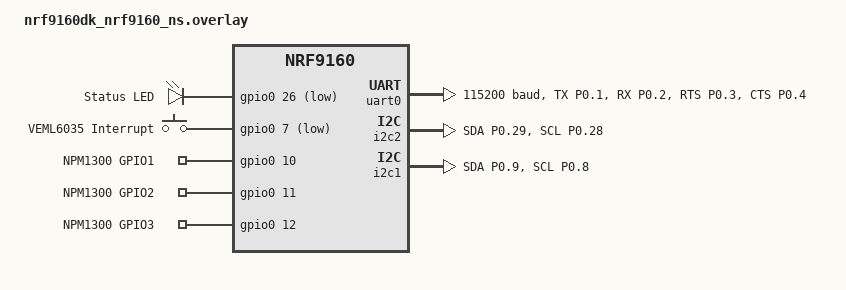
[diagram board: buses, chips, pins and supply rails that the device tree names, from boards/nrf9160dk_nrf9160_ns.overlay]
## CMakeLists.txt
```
cmake_minimum_required(VERSION 3.20.0)

find_package(Zephyr REQUIRED HINTS $ENV{ZEPHYR_BASE})
project(security_seal)

target_sources(app PRIVATE src/main.c)

# Add other source directories as we populate them
target_sources(app PRIVATE src/drivers/veml6035.c)
target_sources(app PRIVATE src/drivers/npm1300.c)
target_sources(app PRIVATE src/power/power_mgr.c)
target_sources(app PRIVATE src/app/payload.c)
target_sources(app PRIVATE src/app/storage.c)
target_sources(app PRIVATE src/app/fsm.c)
target_sources(app PRIVATE src/app/watchdog_mgr.c)
```

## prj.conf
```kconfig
#
# Core Application Configuration
#

# --- Peripherals ---
CONFIG_GPIO=y
CONFIG_I2C=y
CONFIG_WATCHDOG=y

# --- Modem / Cellular ---
CONFIG_NRF_MODEM_LIB=y

CONFIG_LTE_LINK_CONTROL=y
# CONFIG_LTE_AUTO_INIT_AND_CONNECT=n
# CONFIG_LTE_NETWORK_MODE_LTE_M=y
CONFIG_LTE_NETWORK_MODE_LTE_M_NBIOT=y
CONFIG_LTE_NETWORK_MODE_NBIOT=n

# --- Power Optimization (Disable Unused) ---
CONFIG_SERIAL=y
CONFIG_CONSOLE=y
CONFIG_UART_CONSOLE=y
CONFIG_LOG=y
# CONFIG_PRINTK=n


CONFIG_NETWORKING=y
CONFIG_NET_NATIVE=n
CONFIG_NET_SOCKETS=y
CONFIG_NET_SOCKETS_OFFLOAD=y
CONFIG_POSIX_API=y

# Disable other radios


# Disable GNSS
# CONFIG_GNSS=n

# Disable Sensors subsystem 
CONFIG_SENSOR=n

# --- Bootloader ---
CONFIG_BOOTLOADER_MCUBOOT=y

# --- Storage ---
CONFIG_FLASH=y
CONFIG_FLASH_PAGE_LAYOUT=y
CONFIG_NVS=y
CONFIG_MPU_ALLOW_FLASH_WRITE=y
CONFIG_SETTINGS=n

# --- Security ---
CONFIG_NRF_SECURITY=y
CONFIG_NET_SOCKETS_SOCKOPT_TLS=n
CONFIG_MBEDTLS=y
# CONFIG_NRF_APPROTECT_LOCK=y # Uncomment for production to lock debug interface

# --- Power Management ---
CONFIG_POWEROFF=y
CONFIG_REBOOT=y
```

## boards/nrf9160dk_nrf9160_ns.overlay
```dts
/*
 * Copyright (c) 2024
 * Overlay for nRF9160 DK (nrf9160dk_nrf9160_ns)
 * usage: west build -b nrf9160dk_nrf9160_ns
 */

/ {
	aliases {
		led0 = &led0;
		veml-int = &veml_int;
	};

	leds {
		compatible = "gpio-leds";
		/* Custom PCB LED on P0.26 */
		led0: led_0 {
			gpios = <&gpio0 26 GPIO_ACTIVE_LOW>;
			label = "Status LED";
		};
	};
	
	gpio_custom {
		compatible = "gpio-keys";
		
		/* VEML6035 Interrupt on P0.07 */
		veml_int: veml_int {
			gpios = <&gpio0 7 (GPIO_PULL_UP | GPIO_ACTIVE_LOW)>;
			label = "VEML6035 Interrupt";
		};
		
		/* NPM1300 Control Pins (P0.10, P0.11, P0.12) */
		npm_gpio1: npm_gpio_1 {
			gpios = <&gpio0 10 GPIO_ACTIVE_HIGH>;
			label = "NPM1300 GPIO1";
		};
		npm_gpio2: npm_gpio_2 {
			gpios = <&gpio0 11 GPIO_ACTIVE_HIGH>;
			label = "NPM1300 GPIO2";
		};
		npm_gpio3: npm_gpio_3 {
			gpios = <&gpio0 12 GPIO_ACTIVE_HIGH>;
			label = "NPM1300 GPIO3";
		};
	};
};

/* Disable Unused DK Peripherals to prevent conflicts */
&button0 { status = "disabled"; };
&button1 { status = "disabled"; };
&button2 { status = "disabled"; };
&button3 { status = "disabled"; };
&led1 { status = "disabled"; };
&led2 { status = "disabled"; };
&led3 { status = "disabled"; };

/* UART0 for FT230XQ */
&uart0 {
	status = "okay";
	current-speed = <115200>;
	pinctrl-0 = <&uart0_default>;
	pinctrl-1 = <&uart0_sleep>;
	pinctrl-names = "default", "sleep";
};

/* I2C2 for VEML6035 (SCL=P0.28, SDA=P0.29) */
&i2c2 {
	compatible = "nordic,nrf-twim";
	status = "okay";
	pinctrl-0 = <&i2c2_default>;
	pinctrl-1 = <&i2c2_sleep>;
	pinctrl-names = "default", "sleep";
};

/* I2C1 for NPM1300 (SCL=P0.08, SDA=P0.09) */
&i2c1 {
	compatible = "nordic,nrf-twim";
	status = "okay";
	pinctrl-0 = <&i2c1_default>;
	pinctrl-1 = <&i2c1_sleep>;
	pinctrl-names = "default", "sleep";
};

&pinctrl {
	uart0_default: uart0_default {
		group1 {
			psels = <NRF_PSEL(UART_TX, 0, 1)>,
					<NRF_PSEL(UART_RX, 0, 2)>,
					<NRF_PSEL(UART_RTS, 0, 3)>,
					<NRF_PSEL(UART_CTS, 0, 4)>;
		};
	};

	uart0_sleep: uart0_sleep {
		group1 {
			psels = <NRF_PSEL(UART_TX, 0, 1)>,
					<NRF_PSEL(UART_RX, 0, 2)>,
					<NRF_PSEL(UART_RTS, 0, 3)>,
					<NRF_PSEL(UART_CTS, 0, 4)>;
			low-power-enable;
		};
	};

	i2c2_default: i2c2_default {
		group1 {
			psels = <NRF_PSEL(TWIM_SDA, 0, 29)>,
					<NRF_PSEL(TWIM_SCL, 0, 28)>;
		};
	};

	i2c2_sleep: i2c2_sleep {
		group1 {
			psels = <NRF_PSEL(TWIM_SDA, 0, 29)>,
					<NRF_PSEL(TWIM_SCL, 0, 28)>;
			low-power-enable;
		};
	};
	
	i2c1_default: i2c1_default {
		group1 {
			psels = <NRF_PSEL(TWIM_SDA, 0, 9)>,
					<NRF_PSEL(TWIM_SCL, 0, 8)>;
		};
	};

	i2c1_sleep: i2c1_sleep {
		group1 {
			psels = <NRF_PSEL(TWIM_SDA, 0, 9)>,
					<NRF_PSEL(TWIM_SCL, 0, 8)>;
			low-power-enable;
		};
	};
};
```

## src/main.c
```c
/*
 * Copyright (c) 2024
 * Reliable Security Seal Firmware
 */

#include <zephyr/kernel.h>
#include <zephyr/logging/log.h>
#include <zephyr/drivers/gpio.h>
#include "app/fsm.h"
#include "app/watchdog_mgr.h"
#include "drivers/npm1300.h"

LOG_MODULE_REGISTER(main);

int main(void)
{
    LOG_INF("Security Seal Booting...");

    /* --- LED Indication for Reset/Boot --- */
    const struct gpio_dt_spec led = GPIO_DT_SPEC_GET(DT_ALIAS(led0), gpios);
    if (gpio_is_ready_dt(&led)) {
        gpio_pin_configure_dt(&led, GPIO_OUTPUT_ACTIVE);
        // Blink 3 times
        for (int i = 0; i < 3; i++) {
            gpio_pin_set_dt(&led, 1);
            k_sleep(K_MSEC(200));
            gpio_pin_set_dt(&led, 0);
            k_sleep(K_MSEC(200));
        }
    } else {
        LOG_ERR("LED device not ready");
    }


    /* --- NPM1300 PMIC Init --- */
    const struct device *pmic_i2c = DEVICE_DT_GET(DT_NODELABEL(i2c1));
    if (npm1300_init(pmic_i2c) == 0) {
        npm1300_enable_bucks(pmic_i2c);
    } else {
        LOG_ERR("NPM1300 Init Failed! Power rails may be down.");
    }

    int rc = watchdog_mgr_init(180000); // 3 minutes
    if (rc < 0) {
        LOG_ERR("Watchdog Init Failed: %d", rc);
    }

    rc = fsm_init();
    if (rc < 0) {
        LOG_ERR("FSM Init Failed: %d", rc);
        return -1;
    }

    // FSM loop (though our FSM currently handles flow in run once then sleep)
    while (1) {
        watchdog_mgr_kick();
        rc = fsm_run();
        if (rc < 0) {
             LOG_ERR("FSM Critical Failure: %d", rc);
        }
        k_sleep(K_SECONDS(1));
    }
}
```
